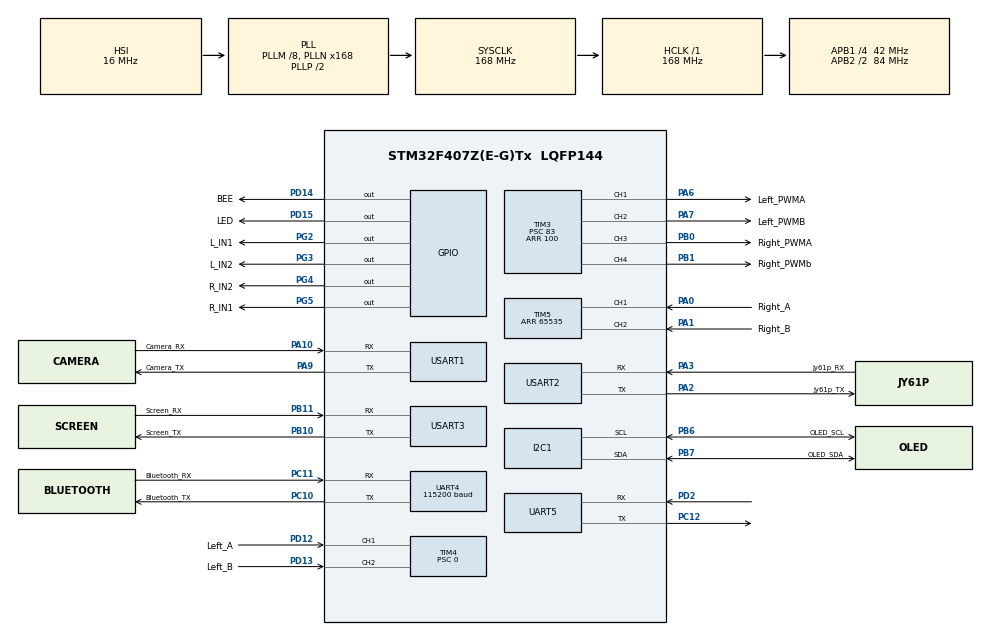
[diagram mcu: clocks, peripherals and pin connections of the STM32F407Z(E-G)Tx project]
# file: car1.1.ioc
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Dma.Request0=USART1_RX
Dma.Request1=USART1_TX
Dma.Request2=UART4_RX
Dma.Request3=UART4_TX
Dma.Request4=USART2_RX
Dma.UART4_RX.2.Direction=DMA_PERIPH_TO_MEMORY
Dma.UART4_RX.2.FIFOMode=DMA_FIFOMODE_DISABLE
Dma.UART4_RX.2.Instance=DMA1_Stream2
Dma.UART4_RX.2.MemDataAlignment=DMA_MDATAALIGN_BYTE
Dma.UART4_RX.2.MemInc=DMA_MINC_ENABLE
Dma.UART4_RX.2.Mode=DMA_NORMAL
Dma.UART4_RX.2.PeriphDataAlignment=DMA_PDATAALIGN_BYTE
Dma.UART4_RX.2.PeriphInc=DMA_PINC_DISABLE
Dma.UART4_RX.2.Priority=DMA_PRIORITY_LOW
Dma.UART4_TX.3.Direction=DMA_MEMORY_TO_PERIPH
Dma.UART4_TX.3.FIFOMode=DMA_FIFOMODE_DISABLE
Dma.UART4_TX.3.Instance=DMA1_Stream4
Dma.UART4_TX.3.MemDataAlignment=DMA_MDATAALIGN_BYTE
Dma.UART4_TX.3.MemInc=DMA_MINC_ENABLE
Dma.UART4_TX.3.Mode=DMA_NORMAL
Dma.UART4_TX.3.PeriphDataAlignment=DMA_PDATAALIGN_BYTE
Dma.UART4_TX.3.PeriphInc=DMA_PINC_DISABLE
Dma.UART4_TX.3.Priority=DMA_PRIORITY_LOW
Dma.USART1_RX.0.Direction=DMA_PERIPH_TO_MEMORY
Dma.USART1_RX.0.FIFOMode=DMA_FIFOMODE_DISABLE
Dma.USART1_RX.0.Instance=DMA2_Stream2
Dma.USART1_RX.0.MemDataAlignment=DMA_MDATAALIGN_BYTE
Dma.USART1_RX.0.MemInc=DMA_MINC_ENABLE
Dma.USART1_RX.0.Mode=DMA_NORMAL
Dma.USART1_RX.0.PeriphDataAlignment=DMA_PDATAALIGN_BYTE
Dma.USART1_RX.0.PeriphInc=DMA_PINC_DISABLE
Dma.USART1_RX.0.Priority=DMA_PRIORITY_LOW
Dma.USART1_TX.1.Direction=DMA_MEMORY_TO_PERIPH
Dma.USART1_TX.1.FIFOMode=DMA_FIFOMODE_DISABLE
Dma.USART1_TX.1.Instance=DMA2_Stream7
Dma.USART1_TX.1.MemDataAlignment=DMA_MDATAALIGN_BYTE
Dma.USART1_TX.1.MemInc=DMA_MINC_ENABLE
Dma.USART1_TX.1.Mode=DMA_NORMAL
Dma.USART1_TX.1.PeriphDataAlignment=DMA_PDATAALIGN_BYTE
Dma.USART1_TX.1.PeriphInc=DMA_PINC_DISABLE
Dma.USART1_TX.1.Priority=DMA_PRIORITY_LOW
Dma.USART2_RX.4.Direction=DMA_PERIPH_TO_MEMORY
Dma.USART2_RX.4.FIFOMode=DMA_FIFOMODE_DISABLE
Dma.USART2_RX.4.Instance=DMA1_Stream5
Dma.USART2_RX.4.MemDataAlignment=DMA_MDATAALIGN_BYTE
Dma.USART2_RX.4.MemInc=DMA_MINC_ENABLE
Dma.USART2_RX.4.Mode=DMA_NORMAL
Dma.USART2_RX.4.PeriphDataAlignment=DMA_PDATAALIGN_BYTE
Dma.USART2_RX.4.PeriphInc=DMA_PINC_DISABLE
Dma.USART2_RX.4.Priority=DMA_PRIORITY_LOW
Mcu.Family=STM32F4
Mcu.Name=STM32F407Z(E-G)Tx
Mcu.Package=LQFP144
NVIC.DMA1_Stream2_IRQn=true\:0\:0\:false\:false\:true\:false\:true\:true
NVIC.DMA1_Stream4_IRQn=true\:0\:0\:false\:false\:true\:false\:true\:true
NVIC.DMA1_Stream5_IRQn=true\:0\:0\:false\:false\:true\:false\:true\:true
NVIC.DMA2_Stream2_IRQn=true\:0\:0\:false\:false\:true\:false\:true\:true
NVIC.DMA2_Stream7_IRQn=true\:0\:0\:false\:false\:true\:false\:true\:true
NVIC.PriorityGroup=NVIC_PRIORITYGROUP_4
NVIC.TIM1_BRK_TIM9_IRQn=true\:2\:0\:true\:false\:true\:true\:true\:true
NVIC.UART4_IRQn=true\:0\:0\:false\:false\:true\:true\:true\:true
NVIC.UART5_IRQn=true\:0\:0\:false\:false\:true\:true\:true\:true
NVIC.USART1_IRQn=true\:1\:0\:true\:false\:true\:true\:true\:true
NVIC.USART2_IRQn=true\:0\:0\:true\:false\:true\:true\:true\:true
PA0-WKUP.GPIO_Label=Right_A
PA0-WKUP.Signal=S_TIM5_CH1
PA1.GPIO_Label=Right_B
PA1.Signal=S_TIM5_CH2
PA10.GPIO_Label=Camera_RX
PA10.Mode=Asynchronous
PA10.Signal=USART1_RX
PA13.Mode=Serial_Wire
PA13.Signal=SYS_JTMS-SWDIO
PA14.Mode=Serial_Wire
PA14.Signal=SYS_JTCK-SWCLK
PA2.GPIO_Label=jy61p_TX
PA2.Mode=Asynchronous
PA2.Signal=USART2_TX
PA3.GPIO_Label=jy61p_RX
PA3.Mode=Asynchronous
PA3.Signal=USART2_RX
PA6.GPIO_Label=Left_PWMA
PA6.Signal=S_TIM3_CH1
PA7.GPIO_Label=Left_PWMB
PA7.Signal=S_TIM3_CH2
PA9.GPIO_Label=Camera_TX
PA9.Mode=Asynchronous
PA9.Signal=USART1_TX
PB0.GPIO_Label=Right_PWMA
PB0.Signal=S_TIM3_CH3
PB1.GPIO_Label=Right_PWMb
PB1.Signal=S_TIM3_CH4
PB10.GPIO_Label=Screen_TX
PB10.Mode=Asynchronous
PB10.Signal=USART3_TX
PB11.GPIO_Label=Screen_RX
PB11.Mode=Asynchronous
PB11.Signal=USART3_RX
PB6.GPIO_Label=OLED_SCL
PB6.Mode=I2C
PB6.Signal=I2C1_SCL
PB7.GPIO_Label=OLED_SDA
PB7.Mode=I2C
PB7.Signal=I2C1_SDA
PC10.GPIO_Label=Bluetooth_TX
PC10.Mode=Asynchronous
PC10.Signal=UART4_TX
PC11.GPIO_Label=Bluetooth_RX
PC11.Mode=Asynchronous
PC11.Signal=UART4_RX
PC12.Mode=Asynchronous
PC12.Signal=UART5_TX
PD12.GPIO_Label=Left_A
PD12.Signal=S_TIM4_CH1
PD13.GPIO_Label=Left_B
PD13.Signal=S_TIM4_CH2
PD14.GPIO_Label=BEE
PD14.Signal=GPIO_Output
PD15.GPIO_Label=LED
PD15.Signal=GPIO_Output
PD2.Mode=Asynchronous
PD2.Signal=UART5_RX
PG2.GPIO_Label=L_IN1
PG2.Signal=GPIO_Output
PG3.GPIO_Label=L_IN2
PG3.Signal=GPIO_Output
PG4.GPIO_Label=R_IN2
PG4.Signal=GPIO_Output
PG5.GPIO_Label=R_IN1
PG5.Signal=GPIO_Output
PH0-OSC_IN.Mode=HSE-External-Oscillator
PH0-OSC_IN.Signal=RCC_OSC_IN
PH1-OSC_OUT.Mode=HSE-External-Oscillator
PH1-OSC_OUT.Signal=RCC_OSC_OUT
ProjectManager.HeapSize=0x200
ProjectManager.StackSize=0x400
ProjectManager.TargetToolchain=CMake
RCC.48MHZClocksFreq_Value=84000000
RCC.AHBFreq_Value=168000000
RCC.APB1CLKDivider=RCC_HCLK_DIV4
RCC.APB1Freq_Value=42000000
RCC.APB1TimFreq_Value=84000000
RCC.APB2CLKDivider=RCC_HCLK_DIV2
RCC.APB2Freq_Value=84000000
RCC.APB2TimFreq_Value=168000000
RCC.CortexFreq_Value=168000000
RCC.HCLKFreq_Value=168000000
RCC.HSE_VALUE=25000000
RCC.HSI_VALUE=16000000
RCC.LSE_VALUE=32768
RCC.PLLM=8
RCC.PLLN=168
RCC.SYSCLKFreq_VALUE=168000000
RCC.SYSCLKSource=RCC_SYSCLKSOURCE_PLLCLK
RCC.VCOOutputFreq_Value=336000000
SH.S_TIM3_CH1.0=TIM3_CH1,PWM Generation1 CH1
SH.S_TIM3_CH2.0=TIM3_CH2,PWM Generation2 CH2
SH.S_TIM3_CH3.0=TIM3_CH3,PWM Generation3 CH3
SH.S_TIM3_CH4.0=TIM3_CH4,PWM Generation4 CH4
SH.S_TIM4_CH1.0=TIM4_CH1,Encoder_Interface
SH.S_TIM4_CH2.0=TIM4_CH2,Encoder_Interface
SH.S_TIM5_CH1.0=TIM5_CH1,Encoder_Interface
SH.S_TIM5_CH2.0=TIM5_CH2,Encoder_Interface
TIM3.Channel-PWM\ Generation1\ CH1=TIM_CHANNEL_1
TIM3.Channel-PWM\ Generation2\ CH2=TIM_CHANNEL_2
TIM3.Channel-PWM\ Generation3\ CH3=TIM_CHANNEL_3
TIM3.Channel-PWM\ Generation4\ CH4=TIM_CHANNEL_4
TIM3.OCMode_PWM-PWM\ Generation1\ CH1=TIM_OCMODE_PWM2
TIM3.OCMode_PWM-PWM\ Generation2\ CH2=TIM_OCMODE_PWM2
TIM3.OCMode_PWM-PWM\ Generation3\ CH3=TIM_OCMODE_PWM2
TIM3.OCMode_PWM-PWM\ Generation4\ CH4=TIM_OCMODE_PWM2
TIM3.Period=100
TIM3.Prescaler=83
TIM4.EncoderMode=TIM_ENCODERMODE_TI12
TIM4.IC1Filter=15
TIM4.IC2Polarity=TIM_ICPOLARITY_FALLING
TIM4.Prescaler=0
TIM5.EncoderMode=TIM_ENCODERMODE_TI12
TIM5.IC1Filter=15
TIM5.IC2Polarity=TIM_ICPOLARITY_RISING
TIM5.Period=65535
TIM9.Period=200
TIM9.Prescaler=16799
UART4.BaudRate=115200
UART4.VirtualMode=Asynchronous
UART5.VirtualMode=Asynchronous
USART1.VirtualMode=VM_ASYNC
USART2.VirtualMode=VM_ASYNC
USART3.VirtualMode=VM_ASYNC
VP_TIM3_VS_ClockSourceINT.Mode=Internal
VP_TIM9_VS_ClockSourceINT.Mode=Internal
board=custom

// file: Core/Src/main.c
/* USER CODE BEGIN Header */
/**
  ******************************************************************************
  * @file           : main.c
  * @brief          : Main program body
  ******************************************************************************
  * @attention
  *
  * Copyright (c) 2025 STMicroelectronics.
  * All rights reserved.
  *
  * This software is licensed under terms that can be found in the LICENSE file
  * in the root directory of this software component.
  * If no LICENSE file comes with this software, it is provided AS-IS.
  *
  ******************************************************************************
  */
/* USER CODE END Header */
#include "main.h"
#include "dma.h"
#include "i2c.h"
#include "tim.h"
#include "usart.h"
#include "gpio.h"

/* USER CODE BEGIN Includes */
#include "car.h"
#include "Debug.h"
#include "string.h"
#include "get_speed.h"
#include "stdio.h"
#include "jy61p.h"
#include "oled.h"
#include "pid.h"
/* USER CODE END Includes */

/* USER CODE BEGIN PV */
float base_speed = 10.0f; //基础速度
uint8_t RxData;//陀螺仪数据变量
int state = 2;//0是第一题，1是第二题直线，2是第二题循迹。
int stop_flag = 0;//第一题停止标志位
/* USER CODE END PV */

void SystemClock_Config(void);

/* USER CODE BEGIN 0 */
//浮点数转字符串
char *fts(float num) {
  static char buffer[50];
  sprintf(buffer, "%.2f", num); // buffer = "123"
  return buffer;
}
//陀螺仪数据获取
void HAL_UART_RxCpltCallback(UART_HandleTypeDef *huart) {
  if (huart == &huart2) {
    // 直接处理接收到的字节
    jy61p_ReceiveData(RxData);
    // 重新启用单字节接收
    HAL_UART_Receive_DMA(huart, &RxData, 1);
  }
}
//定时pid
void HAL_TIM_PeriodElapsedCallback(TIM_HandleTypeDef *htim)
{
  if (htim == &htim9) {
    char data[]="2\n";
    HAL_UART_Transmit_DMA(&huart1, data, strlen(data));
    UART_Printf(&huart4, "%.2f, %d, %d\r\n", base_speed, Kp, Kd);
    OLED_NewFrame();
    OLED_PrintASCIIString(0,0,fts(speed_ring_l.actual),&afont16x8,OLED_COLOR_NORMAL);
    OLED_PrintASCIIString(0,18,fts(speed_ring_r.actual),&afont16x8,OLED_COLOR_NORMAL);
    OLED_ShowFrame();
    if ((state == 0 && stop_flag == 0) || state == 1) {
      car_straight();
      // vofa控制
      // UART_Printf(&huart4, "%.2f,%.2f\r\n", speed_ring_l.target, speed_ring_r.actual);
      // //OLED显示区域
      // OLED_NewFrame();
      // OLED_PrintASCIIString(0,0,fts(Yaw),&afont16x8,OLED_COLOR_NORMAL);
      // OLED_PrintASCIIString(0,18,fts(speed_ring_l.kp),&afont16x8,OLED_COLOR_NORMAL);
      // OLED_PrintASCIIString(0,36,fts(speed_ring_r.ki),&afont16x8,OLED_COLOR_NORMAL);
      // OLED_ShowFrame();
    }
  }
}

/* USER CODE END 0 */

int main(void)
{

  /* MCU Configuration--------------------------------------------------------*/

  /* Reset of all peripherals, Initializes the Flash interface and the Systick. */
  HAL_Init();

  /* Configure the system clock */
  SystemClock_Config();

  /* Initialize all configured peripherals */
  MX_GPIO_Init();
  MX_DMA_Init();
  MX_I2C1_Init();
  MX_TIM3_Init();
  MX_TIM4_Init();
  MX_TIM5_Init();
  MX_UART4_Init();
  MX_USART1_UART_Init();
  MX_USART3_UART_Init();
  MX_TIM9_Init();
  MX_USART2_UART_Init();
  MX_UART5_Init();
  /* USER CODE BEGIN 2 */
  //变量定义
  //陀螺仪初始化
  HAL_UART_Receive_DMA(&huart2, &RxData, 1);
  //定时器初始化
  HAL_TIM_Encoder_Start(&htim4, TIM_CHANNEL_1); //开启编码器模式
  HAL_TIM_Encoder_Start(&htim4, TIM_CHANNEL_2);
  HAL_TIM_Encoder_Start(&htim5, TIM_CHANNEL_1);
  HAL_TIM_Encoder_Start(&htim5, TIM_CHANNEL_2);
  HAL_TIM_PWM_Start(&htim3, TIM_CHANNEL_1);  //开启pwm
  HAL_TIM_PWM_Start(&htim3, TIM_CHANNEL_2);
  HAL_TIM_PWM_Start(&htim3, TIM_CHANNEL_3);
  HAL_TIM_PWM_Start(&htim3, TIM_CHANNEL_4);
  HAL_TIM_Base_Start_IT(&htim9);//开启定时
  //vofa接收初始化
  HAL_UARTEx_ReceiveToIdle_DMA(&huart4, sofa_data, sizeof(sofa_data));
  //视觉接收初始化
  HAL_UARTEx_ReceiveToIdle_DMA(&huart1, camera_data, sizeof(camera_data));
  //OLED初始化
  HAL_Delay(20);
  OLED_Init();
  /* USER CODE END 2 */

  /* Infinite loop */
  /* USER CODE BEGIN WHILE */
  while (1)
  {
    OLED_NewFrame();
    OLED_PrintASCIIString(0,0,fts(speed_ring_l.actual),&afont16x8,OLED_COLOR_NORMAL);
    OLED_PrintASCIIString(0,18,fts(speed_ring_r.actual),&afont16x8,OLED_COLOR_NORMAL);
    OLED_ShowFrame();
    /* USER CODE END WHILE */

  }
}

void SystemClock_Config(void)
{
  RCC_OscInitTypeDef RCC_OscInitStruct = {0};
  RCC_ClkInitTypeDef RCC_ClkInitStruct = {0};

  /** Configure the main internal regulator output voltage
  */
  __HAL_RCC_PWR_CLK_ENABLE();
  __HAL_PWR_VOLTAGESCALING_CONFIG(PWR_REGULATOR_VOLTAGE_SCALE1);

  /** Initializes the RCC Oscillators according to the specified parameters
  * in the RCC_OscInitTypeDef structure.
  */
  RCC_OscInitStruct.OscillatorType = RCC_OSCILLATORTYPE_HSI;
  RCC_OscInitStruct.HSIState = RCC_HSI_ON;
  RCC_OscInitStruct.HSICalibrationValue = RCC_HSICALIBRATION_DEFAULT;
  RCC_OscInitStruct.PLL.PLLState = RCC_PLL_ON;
  RCC_OscInitStruct.PLL.PLLSource = RCC_PLLSOURCE_HSI;
  RCC_OscInitStruct.PLL.PLLM = 8;
  RCC_OscInitStruct.PLL.PLLN = 168;
  RCC_OscInitStruct.PLL.PLLP = RCC_PLLP_DIV2;
  RCC_OscInitStruct.PLL.PLLQ = 4;
  if (HAL_RCC_OscConfig(&RCC_OscInitStruct) != HAL_OK)
  {
    Error_Handler();
  }

  /** Initializes the CPU, AHB and APB buses clocks
  */
  RCC_ClkInitStruct.ClockType = RCC_CLOCKTYPE_HCLK|RCC_CLOCKTYPE_SYSCLK
                              |RCC_CLOCKTYPE_PCLK1|RCC_CLOCKTYPE_PCLK2;
  RCC_ClkInitStruct.SYSCLKSource = RCC_SYSCLKSOURCE_PLLCLK;
  RCC_ClkInitStruct.AHBCLKDivider = RCC_SYSCLK_DIV1;
  RCC_ClkInitStruct.APB1CLKDivider = RCC_HCLK_DIV4;
  RCC_ClkInitStruct.APB2CLKDivider = RCC_HCLK_DIV2;

  if (HAL_RCC_ClockConfig(&RCC_ClkInitStruct, FLASH_LATENCY_5) != HAL_OK)
  {
    Error_Handler();
  }
}

void Error_Handler(void)
{
  __disable_irq();
  while (1)
  {
  }
}
